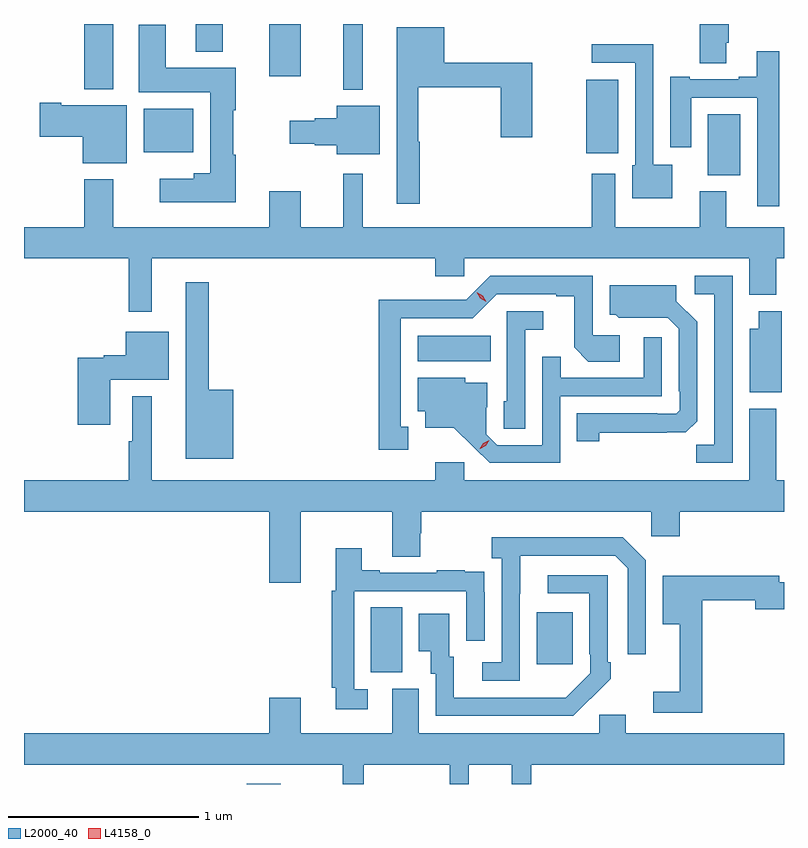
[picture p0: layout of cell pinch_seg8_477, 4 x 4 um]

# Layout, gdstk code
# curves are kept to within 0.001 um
import gdstk
lib = gdstk.Library(unit=1e-6, precision=1e-09)
def R(c, l, rs):  # rectangles x0, y0, x1, y1
    for r in rs: c.add(gdstk.rectangle(r[:2], r[2:], *l))
def P(c, l, *ps):  # polygons
    for p in ps: c.add(gdstk.Polygon(p, *l))
L2000_40 = (2000, 40)
L4158_0 = (4158, 0)

pinch_seg8_477 = lib.new_cell('pinch_seg8_477')
R(pinch_seg8_477, L2000_40, [(176.876,1133.714,177.054,1133.716), (177.53,1134.301,177.694,1134.644), (178.403,1134.345,178.591,1134.619), (177.776,1135.94,178.16,1136.074), (179.303,1136.918,179.473,1137.238), (178.664,1137.035,178.831,1137.421), (176.333,1137.038,176.596,1137.268), (177.383,1137.368,177.487,1137.714), (176.021,1137.371,176.173,1137.714), (176.996,1137.438,177.16,1137.714), (176.609,1137.569,176.749,1137.714)])
P(pinch_seg8_477, L2000_40, [(179.401,1137.616),(179.414,1137.616),(179.414,1137.714),(179.261,1137.714),(179.261,1137.508),(179.401,1137.508)],
  [(176.819,1137.025),(176.806,1137.025),(176.806,1137.26),(176.819,1137.26),(176.819,1137.484),(176.449,1137.484),(176.449,1137.709),(176.309,1137.709),(176.309,1137.356),(176.684,1137.356),(176.684,1136.929),(176.597,1136.929),(176.597,1136.899),(176.418,1136.899),(176.418,1136.777),(176.819,1136.777)],
  [(177.787,1137.093),(177.779,1137.093),(177.779,1137.382),(178.213,1137.382),(178.213,1137.117),(178.378,1137.117),(178.378,1137.511),(177.916,1137.511),(177.916,1137.697),(177.665,1137.697),(177.665,1136.769),(177.787,1136.769)],
  [(179.116,1136.974),(179.016,1136.974),(179.016,1137.608),(178.692,1137.608),(178.692,1137.51),(178.92,1137.51),(178.92,1136.97),(178.904,1136.97),(178.904,1136.798),(179.116,1136.798)],
  [(179.678,1137.571),(179.561,1137.571),(179.561,1137.436),(179.465,1137.436),(179.465,1137.423),(179.209,1137.423),(179.209,1137.436),(179.105,1137.436),(179.105,1137.066),(179.215,1137.066),(179.215,1137.327),(179.562,1137.327),(179.562,1136.754),(179.678,1136.754)],
  [(176.245,1137.286),(175.9,1137.286),(175.9,1137.299),(175.788,1137.299),(175.788,1137.121),(176.012,1137.121),(176.012,1136.981),(176.245,1136.981)],
  [(177.577,1137.283),(177.35,1137.283),(177.35,1137.218),(177.234,1137.218),(177.234,1137.205),(177.102,1137.205),(177.102,1137.083),(177.234,1137.083),(177.234,1137.076),(177.35,1137.076),(177.35,1137.029),(177.577,1137.029)],
  [(176.377,1136.48),(177.869,1136.48),(177.869,1136.387),(178.02,1136.387),(178.02,1136.48),(179.522,1136.48),(179.522,1136.288),(179.662,1136.288),(179.662,1136.48),(179.704,1136.48),(179.704,1136.644),(179.401,1136.644),(179.401,1136.833),(179.261,1136.833),(179.261,1136.644),(178.816,1136.644),(178.816,1136.926),(178.691,1136.926),(178.691,1136.644),(177.487,1136.644),(177.487,1136.926),(177.383,1136.926),(177.383,1136.644),(177.16,1136.644),(177.16,1136.833),(176.996,1136.833),(176.996,1136.644),(176.173,1136.644),(176.173,1136.896),(176.021,1136.896),(176.021,1136.644),(175.704,1136.644),(175.704,1136.48),(176.256,1136.48),(176.256,1136.199),(176.377,1136.199)],
  [(179.433,1136.388),(179.235,1136.388),(179.235,1136.292),(179.337,1136.292),(179.337,1135.499),(179.242,1135.499),(179.242,1135.404),(179.433,1135.404)],
  [(177.727,1135.593),(177.688,1135.593),(177.688,1136.166),(178.065,1136.166),(178.191,1136.292),(178.505,1136.292),(178.505,1136.28),(178.599,1136.28),(178.599,1136.012),(178.675,1135.936),(178.84,1135.936),(178.84,1136.076),(178.698,1136.076),(178.698,1136.388),(178.158,1136.388),(178.032,1136.262),(177.81,1136.262),(177.81,1136.264),(177.57,1136.264),(177.57,1135.473),(177.727,1135.473)],
  [(176.806,1135.789),(176.677,1135.789),(176.677,1136.356),(176.555,1136.356),(176.555,1135.427),(176.806,1135.427)],
  [(178.731,1135.564),(179.188,1135.565),(179.247,1135.624),(179.247,1136.146),(179.137,1136.256),(179.137,1136.338),(178.787,1136.338),(178.787,1136.184),(178.818,1136.184),(178.834,1136.168),(179.091,1136.169),(179.151,1136.109),(179.151,1135.78),(179.154,1135.78),(179.154,1135.68),(179.136,1135.662),(179.036,1135.662),(179.036,1135.665),(178.612,1135.665),(178.612,1135.518),(178.731,1135.518)],
  [(179.692,1136.203),(179.57,1136.203),(179.57,1136.11),(179.525,1136.11),(179.525,1135.775),(179.692,1135.775)],
  [(178.341,1136.105),(178.438,1136.105),(178.438,1136.202),(178.245,1136.202),(178.245,1135.728),(178.23,1135.728),(178.23,1135.585),(178.341,1135.585)],
  [(176.158,1135.841),(176.467,1135.841),(176.467,1136.095),(176.24,1136.095),(176.24,1135.97),(176.124,1135.97),(176.124,1135.957),(175.988,1135.957),(175.988,1135.605),(176.158,1135.605)],
  [(178.527,1135.755),(179.061,1135.755),(179.061,1136.065),(178.965,1136.065),(178.965,1135.851),(178.529,1135.851),(178.529,1135.964),(178.431,1135.964),(178.431,1135.497),(178.194,1135.497),(178.137,1135.554),(178.137,1135.696),(178.141,1135.696),(178.141,1135.825),(178.026,1135.825),(178.026,1135.852),(177.776,1135.852),(177.776,1135.676),(177.815,1135.676),(177.815,1135.589),(177.967,1135.589),(178.154,1135.404),(178.527,1135.404)],
  [(177.16,1135.148),(177.641,1135.148),(177.641,1134.91),(177.789,1134.91),(177.789,1135.035),(177.794,1135.035),(177.794,1135.148),(179.004,1135.148),(179.004,1135.017),(179.156,1135.017),(179.156,1135.148),(179.704,1135.148),(179.704,1135.312),(179.662,1135.312),(179.662,1135.69),(179.522,1135.69),(179.522,1135.312),(178.02,1135.312),(178.02,1135.408),(177.869,1135.408),(177.869,1135.312),(176.377,1135.312),(176.377,1135.756),(176.273,1135.756),(176.273,1135.517),(176.256,1135.517),(176.256,1135.312),(175.704,1135.312),(175.704,1135.148),(176.996,1135.148),(176.996,1134.774),(177.16,1134.774)],
  [(178.314,1134.715),(178.315,1134.915),(178.815,1134.915),(178.881,1134.849),(178.881,1134.396),(178.977,1134.396),(178.977,1134.891),(178.856,1135.012),(178.167,1135.012),(178.167,1134.902),(178.218,1134.902),(178.218,1134.354),(178.116,1134.354),(178.116,1134.258),(178.314,1134.258)],
  [(177.514,1134.213),(177.441,1134.213),(177.441,1134.729),(178.032,1134.729),(178.032,1134.468),(178.128,1134.468),(178.128,1134.722),(178.127,1134.722),(178.127,1134.831),(178.025,1134.831),(178.025,1134.838),(177.877,1134.838),(177.877,1134.825),(177.577,1134.825),(177.577,1134.838),(177.481,1134.838),(177.481,1134.955),(177.344,1134.955),(177.344,1134.732),(177.325,1134.732),(177.325,1134.22),(177.344,1134.22),(177.344,1134.108),(177.514,1134.108)],
  [(178.685,1134.163),(178.686,1134.162),(178.791,1134.267),(178.791,1134.355),(178.776,1134.355),(178.776,1134.813),(178.461,1134.813),(178.461,1134.717),(178.68,1134.717),(178.68,1134.397),(178.683,1134.397),(178.683,1134.297),(178.555,1134.169),(177.967,1134.168),(177.967,1134.384),(177.943,1134.384),(177.943,1134.61),(177.782,1134.61),(177.782,1134.413),(177.845,1134.413),(177.845,1134.294),(177.87,1134.294),(177.87,1134.072),(178.594,1134.072)],
  [(179.273,1134.682),(179.552,1134.682),(179.552,1134.635),(179.704,1134.635),(179.704,1134.777),(179.68,1134.777),(179.68,1134.811),(179.066,1134.811),(179.066,1134.554),(179.156,1134.554),(179.156,1134.199),(179.016,1134.199),(179.016,1134.09),(179.273,1134.09)],
  [(177.491,1133.816),(177.944,1133.816),(177.944,1133.714),(178.044,1133.714),(178.044,1133.816),(178.271,1133.816),(178.271,1133.714),(178.375,1133.714),(178.375,1133.816),(179.704,1133.816),(179.704,1133.98),(178.87,1133.98),(178.87,1134.078),(178.731,1134.078),(178.731,1133.98),(177.781,1133.98),(177.781,1134.216),(177.641,1134.216),(177.641,1133.98),(177.16,1133.98),(177.16,1134.169),(176.996,1134.169),(176.996,1133.98),(175.704,1133.98),(175.704,1133.816),(177.381,1133.816),(177.381,1133.714),(177.491,1133.714)])
P(pinch_seg8_477, L4158_0, [(178.103,1135.478),(178.103,1135.478),(178.121,1135.508),(178.152,1135.523),(178.152,1135.523),(178.152,1135.523),(178.135,1135.493),(178.104,1135.478)],
  [(178.136,1136.251),(178.105,1136.27),(178.087,1136.302),(178.087,1136.302),(178.087,1136.302),(178.119,1136.284),(178.136,1136.251),(178.136,1136.251)])

lib.write_gds('pinch_seg8_477.gds')
